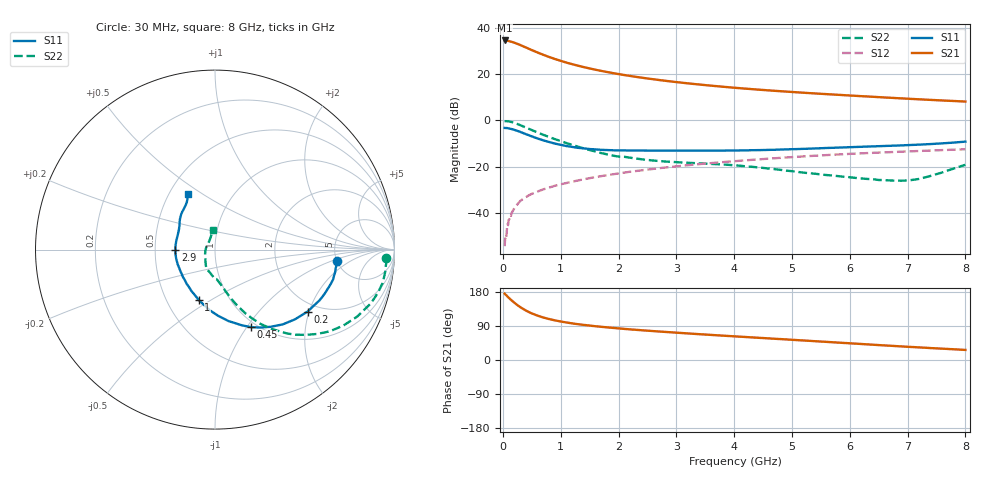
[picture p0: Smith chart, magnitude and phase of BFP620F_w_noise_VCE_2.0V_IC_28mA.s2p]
! Infineon Technologies  Discrete & RF Semiconductors
! BFP620F
! VCE =  2.0 V,  IC =  28 mA
! Common Emitter S-Parameters:  Dec 2014
# GHz  S  MA  R  50
!  f  S11  S21  S12  S22
! GHz  MAG  ANG  MAG  ANG  MAG  ANG  MAG  ANG
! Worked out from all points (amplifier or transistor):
!   95 points, 30 MHz to 8 GHz, reference 50 ohm
!   highest |S21| = 34.5 dB at 30 MHz (marker M1)
!   |S21| within 3 dB of that: start of sweep to 394.9 MHz
!   unconditionally stable (mu >= 1): 2.513 GHz to end of sweep
!   at 300 MHz: K = 0.38, MSG = 33.7 dB, |S12| = -34.9 dB
!   at 3.3 GHz: K = 1.02, MAG = 16.5 dB, |S12| = -19.2 dB
!   at 8 GHz: K = 1.06, MAG = 8.8 dB, |S12| = -12.5 dB
!   lowest NFmin = 1.08 dB at 450 MHz
!   S11 on the Smith chart (normalised r, x): 30 MHz: 5.03, -1.22; 200 MHz: 1.74, -1.95; 450 MHz: 0.94, -1.04; 1 GHz: 0.72, -0.44; 2.9 GHz: 0.64, -0.00; 8 GHz: 0.62, +0.44
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0.03  0.6845 -5.4  53.23 175.2  0.0019 65.4  0.9559 -2.9
0.08  0.6787 -14.2  52.44 167.4  0.0057 80.3  0.9533 -10.1
0.12  0.6603 -21.2  50.96 161.5  0.0077 81.6  0.9356 -15.5
0.2  0.6205 -33.8  47.44 151.0  0.0127 75.3  0.876 -25.2
0.25  0.5913 -41.1  44.99 144.9  0.0152 72.2  0.8318 -30.5
0.3  0.5619 -47.9  42.45 139.6  0.018 70.9  0.7857 -35.4
0.4  0.5011 -60.1  37.45 130.4  0.0218 67.8  0.694 -43.2
0.45  0.4755 -65.2  35.13 126.5  0.0239 66.5  0.6538 -46.5
0.5  0.4491 -70.2  32.99 123.0  0.0257 66.0  0.6152 -49.4
0.6  0.4044 -79.5  29.2 117.0  0.0288 65.2  0.5441 -54.4
0.7  0.3682 -87.5  26.05 112.1  0.0322 64.1  0.4855 -58.5
0.8  0.3392 -94.9  23.37 108.1  0.0351 64.4  0.4348 -61.7
1  0.2951 -107.9  19.29 101.6  0.0413 64.1  0.355 -66.9
1.2  0.2657 -119.5  16.34 96.6  0.0471 63.9  0.2946 -71.2
1.4  0.2472 -129.8  14.12 92.6  0.053 63.6  0.2475 -75.0
2  0.2235 -155.0  9.993 83.4  0.0709 62.4  0.1642 -87.3
2.7  0.2214 -174.8  7.438 75.2  0.092 59.6  0.1316 -102.1
2.9  0.221 -179.3  6.929 73.2  0.0978 58.7  0.1264 -105.5
4.1  0.2231 158.5  4.946 61.5  0.1335 52.5  0.1042 -119.0
5.4  0.2465 143.2  3.807 49.6  0.1714 44.3  0.07 -141.4
6.7  0.2812 129.6  3.07 37.6  0.205 35.3  0.05 164.8
8  0.3456 116.1  2.544 26.6  0.2366 26.5  0.1091 96.9
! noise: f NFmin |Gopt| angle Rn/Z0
0.45  1.08  0.03  -173  0.19
0.9  1.11  0.04  -171  0.15
1.5  1.12  0.08  -149  0.15
1.8  1.14  0.08  -147  0.17
1.9  1.14  0.08  -146  0.15
2.4  1.16  0.09  -146  0.17
3.5  1.23  0.12  -142  0.17
5.5  1.38  0.2  239  0.13
6  1.42  0.2  259  0.15
